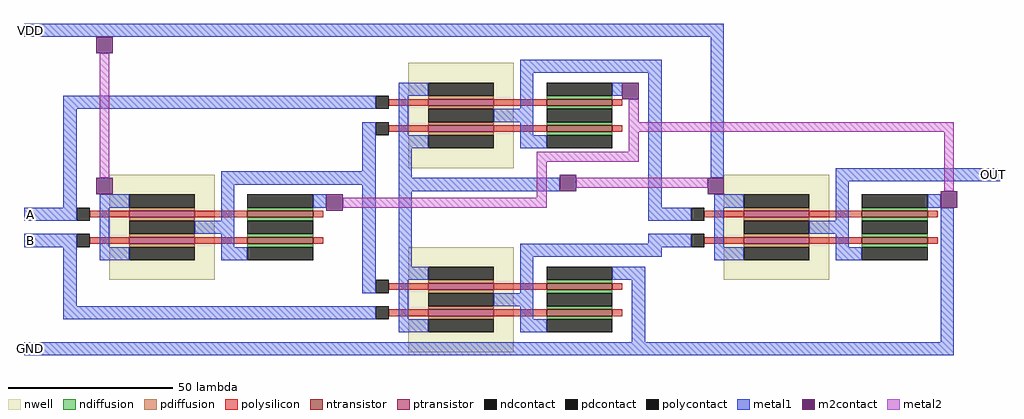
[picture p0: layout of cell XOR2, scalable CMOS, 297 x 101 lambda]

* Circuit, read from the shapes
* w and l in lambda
.subckt XOR2 A B GND OUT VDD
M1 n1 B n2 VSUBS nfet w=20 l=2
M2 GND A n1 VSUBS nfet w=20 l=2
M3 n3 B n4 VSUBS nfet w=20 l=2
M4 GND n2 n3 VSUBS nfet w=20 l=2
M5 n5 n2 n6 VSUBS nfet w=20 l=2
M6 GND A n5 VSUBS nfet w=20 l=2
M7 n7 n4 OUT VSUBS nfet w=20 l=2
M8 GND n6 n7 VSUBS nfet w=20 l=2
M9 n2 B VDD n8 pfet w=20 l=2
M10 VDD A n2 n8 pfet w=20 l=2
M11 n4 B VDD n9 pfet w=20 l=2
M12 VDD n2 n4 n9 pfet w=20 l=2
M13 n6 n2 VDD n10 pfet w=20 l=2
M14 VDD A n6 n10 pfet w=20 l=2
M15 OUT n4 VDD n11 pfet w=20 l=2
M16 VDD n6 OUT n11 pfet w=20 l=2
.ends

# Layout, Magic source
magic
tech scmos
<< nwell >>
rect 105 34 137 66
rect 14 0 46 32
rect 105 -22 137 10
rect 201 0 233 32
<< ntransistor >>
rect 147 53 167 55
rect 147 45 167 47
rect 56 19 76 21
rect 243 19 263 21
rect 56 11 76 13
rect 243 11 263 13
rect 147 -3 167 -1
rect 147 -11 167 -9
<< ptransistor >>
rect 111 53 131 55
rect 111 45 131 47
rect 20 19 40 21
rect 207 19 227 21
rect 20 11 40 13
rect 207 11 227 13
rect 111 -3 131 -1
rect 111 -11 131 -9
<< ndiffusion >>
rect 147 55 167 56
rect 147 52 167 53
rect 147 47 167 48
rect 147 44 167 45
rect 56 21 76 22
rect 56 18 76 19
rect 243 21 263 22
rect 56 13 76 14
rect 56 10 76 11
rect 243 18 263 19
rect 243 13 263 14
rect 243 10 263 11
rect 147 -1 167 0
rect 147 -4 167 -3
rect 147 -9 167 -8
rect 147 -12 167 -11
<< pdiffusion >>
rect 111 55 131 56
rect 111 52 131 53
rect 111 47 131 48
rect 111 44 131 45
rect 20 21 40 22
rect 20 18 40 19
rect 20 13 40 14
rect 207 21 227 22
rect 207 18 227 19
rect 20 10 40 11
rect 207 13 227 14
rect 207 10 227 11
rect 111 -1 131 0
rect 111 -4 131 -3
rect 111 -9 131 -8
rect 111 -12 131 -11
<< ndcontact >>
rect 147 56 167 60
rect 147 48 167 52
rect 147 40 167 44
rect 56 22 76 26
rect 243 22 263 26
rect 56 14 76 18
rect 243 14 263 18
rect 56 6 76 10
rect 243 6 263 10
rect 147 0 167 4
rect 147 -8 167 -4
rect 147 -16 167 -12
<< pdcontact >>
rect 111 56 131 60
rect 111 48 131 52
rect 111 40 131 44
rect 20 22 40 26
rect 207 22 227 26
rect 20 14 40 18
rect 207 14 227 18
rect 20 6 40 10
rect 207 6 227 10
rect 111 0 131 4
rect 111 -8 131 -4
rect 111 -16 131 -12
<< polysilicon >>
rect 99 53 111 55
rect 131 53 147 55
rect 167 53 170 55
rect 99 45 111 47
rect 131 45 147 47
rect 167 45 170 47
rect 8 19 20 21
rect 40 19 56 21
rect 76 19 79 21
rect 195 19 207 21
rect 227 19 243 21
rect 263 19 266 21
rect 8 11 20 13
rect 40 11 56 13
rect 76 11 79 13
rect 195 11 207 13
rect 227 11 243 13
rect 263 11 266 13
rect 99 -3 111 -1
rect 131 -3 147 -1
rect 167 -3 170 -1
rect 99 -11 111 -9
rect 131 -11 147 -9
rect 167 -11 170 -9
<< polycontact >>
rect 95 52 99 56
rect 95 44 99 48
rect 4 18 8 22
rect 4 10 8 14
rect 191 18 195 22
rect 191 10 195 14
rect 95 -4 99 0
rect 95 -12 99 -8
<< metal1 >>
rect -12 74 201 78
rect 139 63 182 67
rect 102 56 111 60
rect 0 52 95 56
rect 0 22 4 52
rect 91 33 95 48
rect 102 44 105 56
rect 139 52 143 63
rect 167 56 170 60
rect 131 48 143 52
rect 139 44 143 48
rect 48 29 95 33
rect 11 22 20 26
rect -12 18 4 22
rect -12 10 4 14
rect 11 10 14 22
rect 48 18 52 29
rect 76 22 80 26
rect 40 14 52 18
rect 48 10 52 14
rect 0 -8 4 10
rect 11 6 20 10
rect 48 6 56 10
rect 91 -4 95 29
rect 102 40 111 44
rect 139 40 147 44
rect 102 31 106 40
rect 102 27 151 31
rect 102 4 106 27
rect 178 22 182 63
rect 197 31 201 74
rect 235 30 285 34
rect 198 22 207 26
rect 178 18 191 22
rect 178 11 191 14
rect 139 10 191 11
rect 198 10 201 22
rect 235 18 239 30
rect 263 22 267 26
rect 227 14 239 18
rect 235 10 239 14
rect 139 7 182 10
rect 102 0 111 4
rect 0 -12 95 -8
rect 102 -12 105 0
rect 139 -4 143 7
rect 198 6 207 10
rect 235 6 243 10
rect 167 0 177 4
rect 131 -8 143 -4
rect 139 -12 143 -8
rect 102 -16 111 -12
rect 139 -16 147 -12
rect 173 -19 177 0
rect 267 -19 271 22
rect -12 -23 271 -19
<< m2contact >>
rect 10 69 15 74
rect 170 55 175 60
rect 10 26 15 31
rect 80 21 85 26
rect 151 27 156 32
rect 196 26 201 31
rect 267 22 272 27
<< metal2 >>
rect 11 31 14 69
rect 172 48 175 55
rect 172 45 271 48
rect 172 39 175 45
rect 144 36 175 39
rect 144 25 147 36
rect 156 28 196 31
rect 268 27 271 45
rect 85 22 147 25
<< labels >>
rlabel metal1 281 30 285 34 7 OUT
rlabel metal1 -12 18 -8 22 3 A
rlabel metal1 -12 10 -8 14 3 B
rlabel metal1 -12 74 -8 78 4 VDD
rlabel metal1 -12 -23 -8 -19 2 GND
<< end >>
